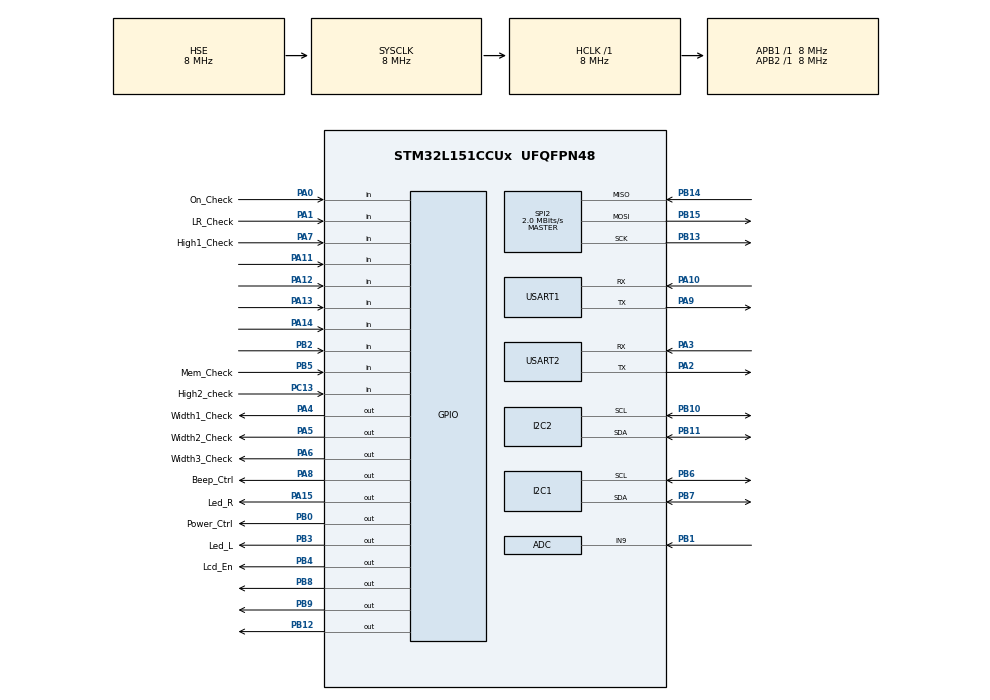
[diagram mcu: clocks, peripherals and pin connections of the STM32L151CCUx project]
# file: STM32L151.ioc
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ADC.Channel-2\#ChannelRegularConversion=ADC_CHANNEL_9
ADC.NbrOfConversionFlag=1
ADC.Rank-2\#ChannelRegularConversion=1
ADC.SamplingTime-2\#ChannelRegularConversion=ADC_SAMPLETIME_384CYCLES
Dma.Request0=SPI2_TX
Dma.SPI2_TX.0.Direction=DMA_MEMORY_TO_PERIPH
Dma.SPI2_TX.0.Instance=DMA1_Channel5
Dma.SPI2_TX.0.MemDataAlignment=DMA_MDATAALIGN_BYTE
Dma.SPI2_TX.0.MemInc=DMA_MINC_ENABLE
Dma.SPI2_TX.0.Mode=DMA_NORMAL
Dma.SPI2_TX.0.PeriphDataAlignment=DMA_PDATAALIGN_BYTE
Dma.SPI2_TX.0.PeriphInc=DMA_PINC_DISABLE
Dma.SPI2_TX.0.Priority=DMA_PRIORITY_MEDIUM
Mcu.Family=STM32L1
Mcu.Name=STM32L151CCUx
Mcu.Package=UFQFPN48
NVIC.DMA1_Channel5_IRQn=true\:0\:0\:false\:false\:true\:false\:true\:true
NVIC.PriorityGroup=NVIC_PRIORITYGROUP_4
NVIC.USART1_IRQn=true\:0\:0\:false\:false\:true\:true\:true\:true
NVIC.USART2_IRQn=true\:0\:0\:false\:false\:true\:true\:true\:true
PA0-WKUP1.GPIO_Label=On_Check
PA0-WKUP1.GPIO_PuPd=GPIO_PULLUP
PA0-WKUP1.Signal=GPIO_Input
PA1.GPIO_Label=LR_Check
PA1.GPIO_PuPd=GPIO_PULLUP
PA1.Signal=GPIO_Input
PA10.Mode=Asynchronous
PA10.Signal=USART1_RX
PA11.Signal=GPIO_Input
PA12.Signal=GPIO_Input
PA13.Signal=GPIO_Input
PA14.Signal=GPIO_Input
PA15.GPIO_Label=Led_R
PA15.Signal=GPIO_Output
PA2.Mode=Asynchronous
PA2.Signal=USART2_TX
PA3.Mode=Asynchronous
PA3.Signal=USART2_RX
PA4.GPIO_Label=Width1_Check
PA4.GPIO_PuPd=GPIO_PULLDOWN
PA4.Signal=GPIO_Output
PA5.GPIO_Label=Width2_Check
PA5.GPIO_PuPd=GPIO_PULLDOWN
PA5.Signal=GPIO_Output
PA6.GPIO_Label=Width3_Check
PA6.GPIO_PuPd=GPIO_PULLDOWN
PA6.Signal=GPIO_Output
PA7.GPIO_Label=High1_Check
PA7.GPIO_PuPd=GPIO_PULLDOWN
PA7.Signal=GPIO_Input
PA8.GPIO_Label=Beep_Ctrl
PA8.Signal=GPIO_Output
PA9.Mode=Asynchronous
PA9.Signal=USART1_TX
PB0.GPIO_Label=Power_Ctrl
PB0.Signal=GPIO_Output
PB1.Mode=IN9
PB1.Signal=ADC_IN9
PB10.Mode=I2C
PB10.Signal=I2C2_SCL
PB11.Mode=I2C
PB11.Signal=I2C2_SDA
PB12.Signal=GPIO_Output
PB13.Mode=Full_Duplex_Master
PB13.Signal=SPI2_SCK
PB14.Mode=Full_Duplex_Master
PB14.Signal=SPI2_MISO
PB15.Mode=Full_Duplex_Master
PB15.Signal=SPI2_MOSI
PB2.Signal=GPIO_Input
PB3.GPIO_Label=Led_L
PB3.Signal=GPIO_Output
PB4.GPIO_Label=Lcd_En
PB4.GPIO_PuPd=GPIO_PULLUP
PB4.PinState=GPIO_PIN_SET
PB4.Signal=GPIO_Output
PB5.GPIO_Label=Mem_Check
PB5.Signal=GPIO_Input
PB6.Mode=I2C
PB6.Signal=I2C1_SCL
PB7.Mode=I2C
PB7.Signal=I2C1_SDA
PB8.Signal=GPIO_Output
PB9.Signal=GPIO_Output
PC13-WKUP2.GPIO_Label=High2_check
PC13-WKUP2.GPIO_PuPd=GPIO_PULLDOWN
PC13-WKUP2.Signal=GPIO_Input
PC14-OSC32_IN.Mode=LSE-External-Oscillator
PC14-OSC32_IN.Signal=RCC_OSC32_IN
PC15-OSC32_OUT.Mode=LSE-External-Oscillator
PC15-OSC32_OUT.Signal=RCC_OSC32_OUT
PH0-OSC_IN.Mode=HSE-External-Oscillator
PH0-OSC_IN.Signal=RCC_OSC_IN
PH1-OSC_OUT.Mode=HSE-External-Oscillator
PH1-OSC_OUT.Signal=RCC_OSC_OUT
ProjectManager.HeapSize=0x200
ProjectManager.StackSize=0x400
ProjectManager.TargetToolchain=MDK-ARM V5.32
RCC.48MHZClocksFreq_Value=48000000
RCC.AHBFreq_Value=8000000
RCC.APB1Freq_Value=8000000
RCC.APB1TimFreq_Value=8000000
RCC.APB2Freq_Value=8000000
RCC.APB2TimFreq_Value=8000000
RCC.HCLKFreq_Value=8000000
RCC.HSE_VALUE=8000000
RCC.HSI_VALUE=16000000
RCC.MSI_VALUE=2097000
RCC.PLLDIV=RCC_PLL_DIV4
RCC.PLLMUL=RCC_PLL_MUL12
RCC.PLLSourceVirtual=RCC_PLLSOURCE_HSE
RCC.SYSCLKFreq_VALUE=8000000
RCC.SYSCLKSource=RCC_SYSCLKSOURCE_HSE
RCC.VCOOutputFreq_Value=96000000
SPI2.BaudRatePrescaler=SPI_BAUDRATEPRESCALER_4
SPI2.CLKPhase=SPI_PHASE_1EDGE
SPI2.CalculateBaudRate=2.0 MBits/s
SPI2.Direction=SPI_DIRECTION_2LINES
SPI2.Mode=SPI_MODE_MASTER
SPI2.VirtualType=VM_MASTER
USART1.OverSampling=UART_OVERSAMPLING_8
USART1.VirtualMode=VM_ASYNC
USART2.OverSampling=UART_OVERSAMPLING_8
USART2.VirtualMode=VM_ASYNC
VP_ADC_Vref_Input.Mode=IN-Vrefint
board=custom

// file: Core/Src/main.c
/* USER CODE BEGIN Header */
/**
  ******************************************************************************
  * @file           : main.c
  * @brief          : Main program body
  ******************************************************************************
  * @attention
  *
  * Copyright (c) 2026 STMicroelectronics.
  * All rights reserved.
  *
  * This software is licensed under terms that can be found in the LICENSE file
  * in the root directory of this software component.
  * If no LICENSE file comes with this software, it is provided AS-IS.
  *
  ******************************************************************************
  */
/* USER CODE END Header */
#include "main.h"

/* USER CODE BEGIN Includes */
#include "oled_head.h"
#include "usart_head.h"
#include "adc_head.h"
#include "at24c512_head.h"
#include "pcf8563_head.h"
#include "key_head.h"
#include "App_oled.h"
#include "App_Eep.h"
#include "Algorithm_head.h"
volatile uint32_t Debug_Eep_Storage = 0;//*
volatile uint32_t Debug_Eep_Record = 0;//*
volatile uint32_t Debug_Eep_Warnings = 0;//*
/* USER CODE END Includes */

ADC_HandleTypeDef hadc;

I2C_HandleTypeDef hi2c1;
I2C_HandleTypeDef hi2c2;

SPI_HandleTypeDef hspi2;
DMA_HandleTypeDef hdma_spi2_tx;

UART_HandleTypeDef huart1;
UART_HandleTypeDef huart2;

/* USER CODE BEGIN PV */
float Power_vol = 0;
PAGE_ID page_id = page_logo;
/* [B3.1] EEPROM boot result: 1=valid calibration and record state,
 * 0=initialization/read/CRC failure or nonblank-unrecognized chip. */
volatile uint8_t B3_Eeprom_Boot_OK = 0U;

/* USER CODE END PV */

void SystemClock_Config(void);
static void MX_GPIO_Init(void);
static void MX_DMA_Init(void);
static void MX_SPI2_Init(void);
static void MX_USART1_UART_Init(void);
static void MX_USART2_UART_Init(void);
static void MX_ADC_Init(void);
static void MX_I2C1_Init(void);
static void MX_I2C2_Init(void);

int main(void)
{

  /* MCU Configuration--------------------------------------------------------*/

  /* Reset of all peripherals, Initializes the Flash interface and the Systick. */
  HAL_Init();

  /* Configure the system clock */
  SystemClock_Config();

  /* Initialize all configured peripherals */
  MX_GPIO_Init();
  MX_DMA_Init();
  MX_SPI2_Init();
  MX_USART1_UART_Init();
  MX_USART2_UART_Init();
  MX_ADC_Init();
  __HAL_RCC_ADC1_CLK_DISABLE();
  MX_I2C1_Init();
  MX_I2C2_Init();
  /* USER CODE BEGIN 2 */
  UART_Init();
//  AT24C512_Init();
  PCF8563_Init(&hi2c2);
  OLED_Init();
  Page_init();
  /* [B3.1] Blank AT24C512 is initialized on first boot; existing B3
   * calibration and record journals are never rewritten during boot.
   * No legacy EEPROM service or migration is enabled in production. */
  B3_Eeprom_Boot_OK = Eep_Data_Get();
  /* [CGFIX-01] Eep_Data_Get() may replace CG_Param with the saved snapshot.
   * The dependent slope/intercept must be rebuilt before any measurement. */
  CG_Data_Init();
  Debug_Eep_Storage = Eep_Get_Storage_State();
  Debug_Eep_Record = Eep_Get_Record_State();
  Debug_Eep_Warnings = Eep_Get_Legacy_Warnings();
  /* Audible startup warning if EEPROM could not be initialized/loaded. */
  if (B3_Eeprom_Boot_OK == 0U) Beep_Ctrl(100U, 3U);
  //Test();
  /* USER CODE END 2 */

  /* Infinite loop */
  /* USER CODE BEGIN WHILE */
  while (1)
  {
      uint32_t loop_tick = HAL_GetTick();
      static uint8_t was_on;
      uint8_t powered;
      /* [B2] Process complete UART packets in foreground. Never parse or TX in ISR. */
      UART_Process_Received(UART1_ID);
      if (!Bluetooth_Busy())
          UART_Process_Received(UART2_ID);
      Bluetooth_Service();
      Agreement_Ack_For_Fun();//轨距尺上位机协议处理

      if (U2_PC_Work_Mode == 1 && !Bluetooth_Busy())
      {
          U2_Cycle_Send_Mode_Time_Current = HAL_GetTick();
          if((U2_Cycle_Send_Mode_Time_Current-U2_Cycle_Send_Mode_Time_History) >= 1000)
          {
              char buffer[96] = {0}; /* [B1] Bounded UART2 telemetry text. */
              int len;
              if(get_PageId() == page_main)
                len = snprintf(buffer,sizeof(buffer),"Type:0|Data1:%.2f|Data2:%.2f|Temp:%.2f\r\n",GJ_Value,CG_Value,Temp);
              else
                len = snprintf(buffer,sizeof(buffer),"Type:1|Data1:%.2f|Data2:%.2f|Temp:%.2f\r\n",CZ_Value,HB_Value,Temp);
              /* [B1] snprintf returns required bytes even if truncated. Never transmit partial data. */
              if(len > 0 && (size_t)len < sizeof(buffer))
                  UART_Send_Data(UART2_ID,(uint8_t*)buffer,(uint16_t)len);
              U2_Cycle_Send_Mode_Time_History = U2_Cycle_Send_Mode_Time_Current;
          }
      }

      /*矩阵与独立按键扫描与按键操作*/
      Storage_Key_Check_Scn();
      On_Key_Check_Scn();
      Change_Key_Check_Scn();
      Parser_Key_Check_Scn();
      /*界面刷新*/
      powered = Get_Power_Status();
      if (powered && !was_on)
      {
          Measurement_Power_Session();
          Bluetooth_Startup();
      }
      if (!powered && was_on) ADC_Battery_Cancel();
      was_on = powered;
      if (powered)
      {
          Measurement_Battery_Service();
          oled_Reflash();
          OLED_Refresh();
      }
      Beep_Reflash();

      /* Shallow Sleep retains peripheral clocks and the 1 ms tick. */
      __disable_irq();
      if (HAL_GetTick() == loop_tick && !UART_Is_Frame_Ready(UART1_ID) &&
          (Bluetooth_Busy() || !UART_Is_Frame_Ready(UART2_ID)))
      {
          __DSB();
          __WFI();
      }
      __enable_irq();
  }
    /* USER CODE END WHILE */

}

void SystemClock_Config(void)
{
  RCC_OscInitTypeDef RCC_OscInitStruct = {0};
  RCC_ClkInitTypeDef RCC_ClkInitStruct = {0};

  /** Configure the main internal regulator output voltage
  */
  __HAL_PWR_VOLTAGESCALING_CONFIG(PWR_REGULATOR_VOLTAGE_SCALE1);

  /** Initializes the RCC Oscillators according to the specified parameters
  * in the RCC_OscInitTypeDef structure.
  */
  RCC_OscInitStruct.OscillatorType = RCC_OSCILLATORTYPE_HSI|RCC_OSCILLATORTYPE_HSE;
  RCC_OscInitStruct.HSEState = RCC_HSE_ON;
  RCC_OscInitStruct.HSIState = RCC_HSI_OFF;
  RCC_OscInitStruct.HSICalibrationValue = RCC_HSICALIBRATION_DEFAULT;
  RCC_OscInitStruct.PLL.PLLState = RCC_PLL_OFF;
  if (HAL_RCC_OscConfig(&RCC_OscInitStruct) != HAL_OK)
  {
    Error_Handler();
  }

  /** Initializes the CPU, AHB and APB buses clocks
  */
  RCC_ClkInitStruct.ClockType = RCC_CLOCKTYPE_HCLK|RCC_CLOCKTYPE_SYSCLK
                              |RCC_CLOCKTYPE_PCLK1|RCC_CLOCKTYPE_PCLK2;
  RCC_ClkInitStruct.SYSCLKSource = RCC_SYSCLKSOURCE_HSE;
  RCC_ClkInitStruct.AHBCLKDivider = RCC_SYSCLK_DIV1;
  RCC_ClkInitStruct.APB1CLKDivider = RCC_HCLK_DIV1;
  RCC_ClkInitStruct.APB2CLKDivider = RCC_HCLK_DIV1;

  if (HAL_RCC_ClockConfig(&RCC_ClkInitStruct, FLASH_LATENCY_0) != HAL_OK)
  {
    Error_Handler();
  }
  __HAL_RCC_MSI_DISABLE();
}

static void MX_ADC_Init(void)
{

  ADC_ChannelConfTypeDef sConfig = {0};

  /** Configure the global features of the ADC (Clock, Resolution, Data Alignment and number of conversion)
  */
  hadc.Instance = ADC1;
  hadc.Init.ClockPrescaler = ADC_CLOCK_ASYNC_DIV1;
  hadc.Init.Resolution = ADC_RESOLUTION_12B;
  hadc.Init.DataAlign = ADC_DATAALIGN_RIGHT;
  hadc.Init.ScanConvMode = ADC_SCAN_DISABLE;
  hadc.Init.EOCSelection = ADC_EOC_SEQ_CONV;
  hadc.Init.LowPowerAutoWait = ADC_AUTOWAIT_DISABLE;
  hadc.Init.LowPowerAutoPowerOff = ADC_AUTOPOWEROFF_DISABLE;
  hadc.Init.ChannelsBank = ADC_CHANNELS_BANK_A;
  hadc.Init.ContinuousConvMode = DISABLE;
  hadc.Init.NbrOfConversion = 1;
  hadc.Init.DiscontinuousConvMode = DISABLE;
  hadc.Init.ExternalTrigConv = ADC_SOFTWARE_START;
  hadc.Init.ExternalTrigConvEdge = ADC_EXTERNALTRIGCONVEDGE_NONE;
  hadc.Init.DMAContinuousRequests = DISABLE;
  if (HAL_ADC_Init(&hadc) != HAL_OK)
  {
    Error_Handler();
  }

  /** Configure for the selected ADC regular channel its corresponding rank in the sequencer and its sample time.
  */
  sConfig.Channel = ADC_CHANNEL_9;
  sConfig.Rank = ADC_REGULAR_RANK_1;
  sConfig.SamplingTime = ADC_SAMPLETIME_384CYCLES;
  if (HAL_ADC_ConfigChannel(&hadc, &sConfig) != HAL_OK)
  {
    Error_Handler();
  }

}

static void MX_I2C1_Init(void)
{

  hi2c1.Instance = I2C1;
  hi2c1.Init.ClockSpeed = 100000;
  hi2c1.Init.DutyCycle = I2C_DUTYCYCLE_2;
  hi2c1.Init.OwnAddress1 = 0;
  hi2c1.Init.AddressingMode = I2C_ADDRESSINGMODE_7BIT;
  hi2c1.Init.DualAddressMode = I2C_DUALADDRESS_DISABLE;
  hi2c1.Init.OwnAddress2 = 0;
  hi2c1.Init.GeneralCallMode = I2C_GENERALCALL_DISABLE;
  hi2c1.Init.NoStretchMode = I2C_NOSTRETCH_DISABLE;
  if (HAL_I2C_Init(&hi2c1) != HAL_OK)
  {
    Error_Handler();
  }

}

static void MX_I2C2_Init(void)
{

  hi2c2.Instance = I2C2;
  hi2c2.Init.ClockSpeed = 100000;
  hi2c2.Init.DutyCycle = I2C_DUTYCYCLE_2;
  hi2c2.Init.OwnAddress1 = 0;
  hi2c2.Init.AddressingMode = I2C_ADDRESSINGMODE_7BIT;
  hi2c2.Init.DualAddressMode = I2C_DUALADDRESS_DISABLE;
  hi2c2.Init.OwnAddress2 = 0;
  hi2c2.Init.GeneralCallMode = I2C_GENERALCALL_DISABLE;
  hi2c2.Init.NoStretchMode = I2C_NOSTRETCH_DISABLE;
  if (HAL_I2C_Init(&hi2c2) != HAL_OK)
  {
    Error_Handler();
  }

}

static void MX_SPI2_Init(void)
{

  /* SPI2 parameter configuration*/
  hspi2.Instance = SPI2;
  hspi2.Init.Mode = SPI_MODE_MASTER;
  hspi2.Init.Direction = SPI_DIRECTION_2LINES;
  hspi2.Init.DataSize = SPI_DATASIZE_8BIT;
  hspi2.Init.CLKPolarity = SPI_POLARITY_LOW;
  hspi2.Init.CLKPhase = SPI_PHASE_1EDGE;
  hspi2.Init.NSS = SPI_NSS_SOFT;
  hspi2.Init.BaudRatePrescaler = SPI_BAUDRATEPRESCALER_4;
  hspi2.Init.FirstBit = SPI_FIRSTBIT_MSB;
  hspi2.Init.TIMode = SPI_TIMODE_DISABLE;
  hspi2.Init.CRCCalculation = SPI_CRCCALCULATION_DISABLE;
  hspi2.Init.CRCPolynomial = 10;
  if (HAL_SPI_Init(&hspi2) != HAL_OK)
  {
    Error_Handler();
  }

}

static void MX_USART1_UART_Init(void)
{

  huart1.Instance = USART1;
  huart1.Init.BaudRate = 115200;
  huart1.Init.WordLength = UART_WORDLENGTH_8B;
  huart1.Init.StopBits = UART_STOPBITS_1;
  huart1.Init.Parity = UART_PARITY_NONE;
  huart1.Init.Mode = UART_MODE_TX_RX;
  huart1.Init.HwFlowCtl = UART_HWCONTROL_NONE;
  huart1.Init.OverSampling = UART_OVERSAMPLING_8;
  if (HAL_UART_Init(&huart1) != HAL_OK)
  {
    Error_Handler();
  }

}

static void MX_USART2_UART_Init(void)
{

  huart2.Instance = USART2;
  huart2.Init.BaudRate = 115200;
  huart2.Init.WordLength = UART_WORDLENGTH_8B;
  huart2.Init.StopBits = UART_STOPBITS_1;
  huart2.Init.Parity = UART_PARITY_NONE;
  huart2.Init.Mode = UART_MODE_TX_RX;
  huart2.Init.HwFlowCtl = UART_HWCONTROL_NONE;
  huart2.Init.OverSampling = UART_OVERSAMPLING_8;
  if (HAL_UART_Init(&huart2) != HAL_OK)
  {
    Error_Handler();
  }

}

static void MX_DMA_Init(void)
{

  /* DMA controller clock enable */
  __HAL_RCC_DMA1_CLK_ENABLE();

  /* DMA interrupt init */
  /* DMA1_Channel5_IRQn interrupt configuration */
  HAL_NVIC_SetPriority(DMA1_Channel5_IRQn, 0, 0);
  HAL_NVIC_EnableIRQ(DMA1_Channel5_IRQn);

}

static void MX_GPIO_Init(void)
{
  GPIO_InitTypeDef GPIO_InitStruct = {0};

  /* GPIO Ports Clock Enable */
  __HAL_RCC_GPIOC_CLK_ENABLE();
  __HAL_RCC_GPIOH_CLK_ENABLE();
  __HAL_RCC_GPIOA_CLK_ENABLE();
  __HAL_RCC_GPIOB_CLK_ENABLE();

  /*Configure GPIO pin Output Level */
  HAL_GPIO_WritePin(GPIOA, Width1_Check_Pin|Width2_Check_Pin|Width3_Check_Pin|Beep_Ctrl_Pin
                          |Led_R_Pin, GPIO_PIN_RESET);

  /*Configure GPIO pin Output Level */
  HAL_GPIO_WritePin(GPIOB, Power_Ctrl_Pin|Led_L_Pin|GPIO_PIN_8|GPIO_PIN_9, GPIO_PIN_RESET);

  /*Configure GPIO pin Output Level */
  HAL_GPIO_WritePin(Lcd_En_GPIO_Port, Lcd_En_Pin, GPIO_PIN_SET);

  /*Configure GPIO pin : High2_check_Pin */
  GPIO_InitStruct.Pin = High2_check_Pin;
  GPIO_InitStruct.Mode = GPIO_MODE_INPUT;
  GPIO_InitStruct.Pull = GPIO_PULLDOWN;
  HAL_GPIO_Init(High2_check_GPIO_Port, &GPIO_InitStruct);

  /*Configure GPIO pins : On_Check_Pin LR_Check_Pin */
  GPIO_InitStruct.Pin = On_Check_Pin|LR_Check_Pin;
  GPIO_InitStruct.Mode = GPIO_MODE_INPUT;
  GPIO_InitStruct.Pull = GPIO_PULLUP;
  HAL_GPIO_Init(GPIOA, &GPIO_InitStruct);

  /*Configure GPIO pins : Width1_Check_Pin Width2_Check_Pin Width3_Check_Pin */
  GPIO_InitStruct.Pin = Width1_Check_Pin|Width2_Check_Pin|Width3_Check_Pin;
  GPIO_InitStruct.Mode = GPIO_MODE_OUTPUT_PP;
  GPIO_InitStruct.Pull = GPIO_PULLDOWN;
  GPIO_InitStruct.Speed = GPIO_SPEED_FREQ_LOW;
  HAL_GPIO_Init(GPIOA, &GPIO_InitStruct);

  /*Configure GPIO pin : High1_Check_Pin */
  GPIO_InitStruct.Pin = High1_Check_Pin;
  GPIO_InitStruct.Mode = GPIO_MODE_INPUT;
  GPIO_InitStruct.Pull = GPIO_PULLDOWN;
  HAL_GPIO_Init(High1_Check_GPIO_Port, &GPIO_InitStruct);

  /*Configure GPIO pins : Power_Ctrl_Pin Led_L_Pin PB8 PB9 */
  GPIO_InitStruct.Pin = Power_Ctrl_Pin|Led_L_Pin|GPIO_PIN_8|GPIO_PIN_9;
  GPIO_InitStruct.Mode = GPIO_MODE_OUTPUT_PP;
  GPIO_InitStruct.Pull = GPIO_NOPULL;
  GPIO_InitStruct.Speed = GPIO_SPEED_FREQ_LOW;
  HAL_GPIO_Init(GPIOB, &GPIO_InitStruct);

  /*Configure GPIO pins : Beep_Ctrl_Pin Led_R_Pin */
  GPIO_InitStruct.Pin = Beep_Ctrl_Pin|Led_R_Pin;
  GPIO_InitStruct.Mode = GPIO_MODE_OUTPUT_PP;
  GPIO_InitStruct.Pull = GPIO_NOPULL;
  GPIO_InitStruct.Speed = GPIO_SPEED_FREQ_LOW;
  HAL_GPIO_Init(GPIOA, &GPIO_InitStruct);

  /*Configure GPIO pin : Lcd_En_Pin */
  GPIO_InitStruct.Pin = Lcd_En_Pin;
  GPIO_InitStruct.Mode = GPIO_MODE_OUTPUT_PP;
  GPIO_InitStruct.Pull = GPIO_PULLUP;
  GPIO_InitStruct.Speed = GPIO_SPEED_FREQ_LOW;
  HAL_GPIO_Init(Lcd_En_GPIO_Port, &GPIO_InitStruct);

  /*Configure GPIO pin : Mem_Check_Pin */
  GPIO_InitStruct.Pin = Mem_Check_Pin;
  GPIO_InitStruct.Mode = GPIO_MODE_INPUT;
  GPIO_InitStruct.Pull = GPIO_NOPULL;
  HAL_GPIO_Init(Mem_Check_GPIO_Port, &GPIO_InitStruct);

	HAL_GPIO_WritePin(GPIOB, GPIO_PIN_12, GPIO_PIN_SET);
	GPIO_InitStruct.Pin = GPIO_PIN_12;
	GPIO_InitStruct.Mode = GPIO_MODE_OUTPUT_PP;
	GPIO_InitStruct.Pull = GPIO_NOPULL;
	GPIO_InitStruct.Speed = GPIO_SPEED_FREQ_HIGH;

	HAL_GPIO_Init(GPIOB, &GPIO_InitStruct);

}

void Error_Handler(void)
{
  __disable_irq();
  while (1)
  {
  }
}
